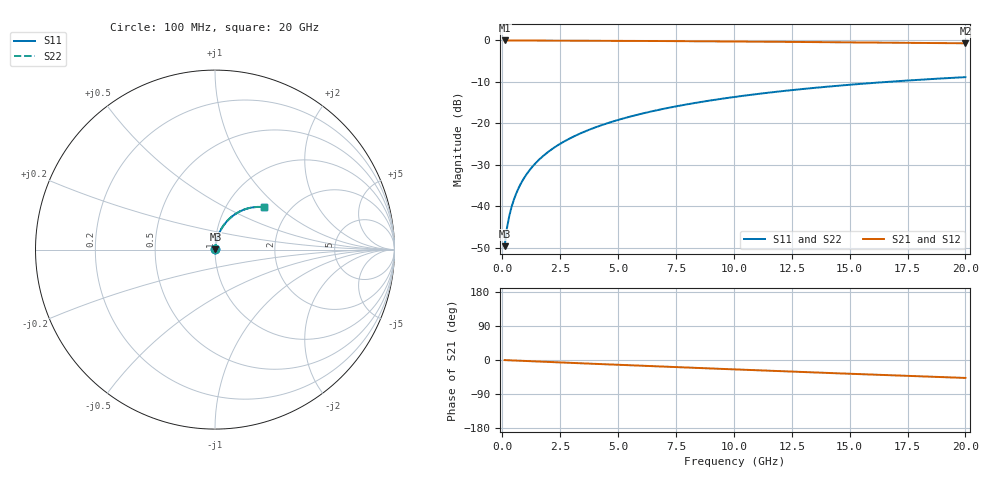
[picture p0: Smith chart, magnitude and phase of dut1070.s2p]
! Touchstone file exported from HFSS 2026.1.0
!  File:  C:/ffzhzh/LocalFiles/Ansys_Project_Files/temp_train_BSMRDL_1070_1783174255_51560.aedt
!  Generated:  10:12:19 PM Jul  4, 2026
!  Design:  BSMRDL
!  Project:  temp_train_BSMRDL_1070_1783174255_51560
! Variables:
!  h_bsmrdl = 5.43um
!  h_ox = 20um
!  h_rdl = 5um
!  h_sub = 80um
!  h_tmrdl = 5um
!  h_tsv = 80um
!  h_via = 3um
!  l_bsmrdl = 744.5um
!  l_sub = 1144.5um
!  l_tmrdl = 200um
!  m_sub = 200um
!  pitch = 50.33um
!  r_tsv = 6um
!  s_tmrdl = 10um
!  w_bsmrdl = 25.81um
!  w_sub = 500um
!  w_tmrdl = 12um
!  x_tsv_center1 = 206um
!  x_tsv_center2 = 976.31um
!  x_tsv_center3 = 1188.31um
!  x_tsv_center4 = 1958.62um
!  x_tsv_center5 = 2170.62um
!  x_tsv_center6 = 2940.93um
# GHz S MA R 50.000000
! Terminal data exported
! Port[1] = BSM_RDL1_1_T1
! Port[2] = BSM_RDL1_1_T2
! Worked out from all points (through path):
!   200 points, 100 MHz to 20 GHz, reference 50 ohm
!   highest |S21| = -0.02 dB at 100 MHz (marker M1); lowest = -0.7 dB at 20 GHz (marker M2)
!   group delay of S21, straight-line fit = 6.57 ps
!   lowest |S11| = -49.7 dB at 100 MHz (marker M3), VSWR 1.01, Z = 50.2 + j0.253 ohm
!   |S11| at or under -10 dB: start of sweep to 16.68 GHz
!   |S22| runs from -49.7 to -8.9 dB; largest |S21 - S12| = 9.1e-15
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0.1  0.003284 50.1  0.9979 -0.3  0.9979 -0.3  0.003284 50.1
! Gamma 0 0 0 0
! Port Impedance 50 0 50 0
0.2  0.005401 64.5  0.9977 -0.5  0.9977 -0.5  0.005401 64.5
0.3  0.007569 70.6  0.9976 -0.8  0.9976 -0.8  0.007569 70.6
0.4  0.009755 74.0  0.9975 -1.0  0.9975 -1.0  0.009755 74.0
0.5  0.01196 76.2  0.9974 -1.3  0.9974 -1.3  0.01196 76.2
0.7  0.01641 78.7  0.9972 -1.8  0.9972 -1.8  0.01641 78.7
0.8  0.01865 79.5  0.9971 -2.1  0.9971 -2.1  0.01865 79.5
1  0.02314 80.3  0.9969 -2.6  0.9969 -2.6  0.02314 80.3
1.2  0.02764 80.7  0.9967 -3.1  0.9967 -3.1  0.02764 80.7
1.4  0.03212 80.8  0.9964 -3.6  0.9964 -3.6  0.03212 80.8
1.7  0.03883 80.7  0.996 -4.4  0.996 -4.4  0.03883 80.7
2  0.0455 80.4  0.9954 -5.1  0.9954 -5.1  0.0455 80.4
2.7  0.06087 79.2  0.994 -6.9  0.994 -6.9  0.06087 79.2
3.5  0.07812 77.5  0.9921 -8.9  0.9921 -8.9  0.07812 77.5
4.2  0.09295 76.0  0.9902 -10.7  0.9902 -10.7  0.09295 76.0
5  0.1096 74.2  0.9879 -12.6  0.9879 -12.6  0.1096 74.2
6.8  0.146 70.1  0.9821 -17.0  0.9821 -17.0  0.146 70.2
8.3  0.1753 66.8  0.9766 -20.7  0.9766 -20.7  0.1753 66.8
10.1  0.2089 62.7  0.9693 -25.0  0.9693 -25.0  0.2089 62.7
13.4  0.266 55.3  0.9544 -32.7  0.9544 -32.7  0.266 55.3
16.7  0.3165 48.1  0.9383 -40.1  0.9383 -40.1  0.3165 48.1
20  0.36 41.0  0.9223 -47.3  0.9223 -47.3  0.36 41.1
